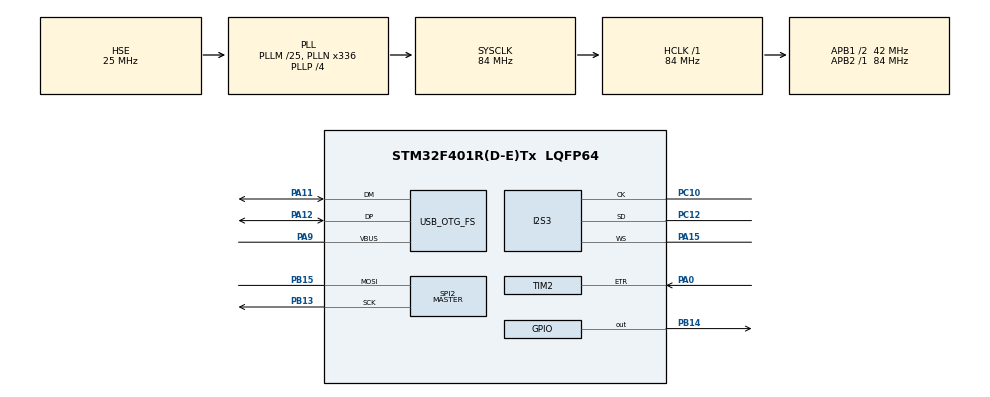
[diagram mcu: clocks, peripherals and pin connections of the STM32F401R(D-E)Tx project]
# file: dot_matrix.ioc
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Dma.Request0=SPI3_RX
Dma.SPI3_RX.0.Direction=DMA_PERIPH_TO_MEMORY
Dma.SPI3_RX.0.FIFOMode=DMA_FIFOMODE_DISABLE
Dma.SPI3_RX.0.Instance=DMA1_Stream0
Dma.SPI3_RX.0.MemDataAlignment=DMA_MDATAALIGN_HALFWORD
Dma.SPI3_RX.0.MemInc=DMA_MINC_ENABLE
Dma.SPI3_RX.0.Mode=DMA_CIRCULAR
Dma.SPI3_RX.0.PeriphDataAlignment=DMA_PDATAALIGN_HALFWORD
Dma.SPI3_RX.0.PeriphInc=DMA_PINC_DISABLE
Dma.SPI3_RX.0.Priority=DMA_PRIORITY_HIGH
I2S3.AudioFreq=I2S_AUDIOFREQ_16K
I2S3.DataFormat=I2S_DATAFORMAT_24B
I2S3.ErrorAudioFreq=-0.35 %
I2S3.FullDuplexMode=I2S_FULLDUPLEXMODE_DISABLE
I2S3.Instance=SPI$Index
I2S3.Mode=I2S_MODE_MASTER_RX
I2S3.RealAudioFreq=15.943 KHz
I2S3.VirtualMode=I2S_MODE_MASTER
Mcu.Family=STM32F4
Mcu.Name=STM32F401R(D-E)Tx
Mcu.Package=LQFP64
NVIC.DMA1_Stream0_IRQn=true\:0\:0\:false\:false\:true\:false\:true\:true
NVIC.PriorityGroup=NVIC_PRIORITYGROUP_4
NVIC.SPI3_IRQn=true\:0\:0\:false\:false\:true\:true\:true\:true
PA0-WKUP.Signal=S_TIM2_CH1_ETR
PA11.Mode=Host_Only
PA11.Signal=USB_OTG_FS_DM
PA12.Mode=Host_Only
PA12.Signal=USB_OTG_FS_DP
PA13.Mode=Serial_Wire
PA13.Signal=SYS_JTMS-SWDIO
PA14.Mode=Serial_Wire
PA14.Signal=SYS_JTCK-SWCLK
PA15.Mode=Half_Duplex_Master
PA15.Signal=I2S3_WS
PA9.Mode=Activate_VBUS
PA9.Signal=USB_OTG_FS_VBUS
PB13.Mode=Simplex_Bidirectional_Master
PB13.Signal=SPI2_SCK
PB14.Signal=GPIO_Output
PB15.Mode=Simplex_Bidirectional_Master
PB15.Signal=SPI2_MOSI
PC10.Mode=Half_Duplex_Master
PC10.Signal=I2S3_CK
PC12.Mode=Half_Duplex_Master
PC12.Signal=I2S3_SD
PH0\ -\ OSC_IN.Mode=HSE-External-Clock-Source
PH0\ -\ OSC_IN.Signal=RCC_OSC_IN
PH1\ -\ OSC_OUT.Mode=HSE-External-Clock-Source
PH1\ -\ OSC_OUT.Signal=RCC_OSC_OUT
ProjectManager.HeapSize=0x200
ProjectManager.StackSize=0x400
ProjectManager.TargetToolchain=Makefile
RCC.48MHZClocksFreq_Value=48000000
RCC.AHBFreq_Value=84000000
RCC.APB1CLKDivider=RCC_HCLK_DIV2
RCC.APB1Freq_Value=42000000
RCC.APB1TimFreq_Value=84000000
RCC.APB2Freq_Value=84000000
RCC.APB2TimFreq_Value=84000000
RCC.CortexFreq_Value=84000000
RCC.HCLKFreq_Value=84000000
RCC.HSE_VALUE=25000000
RCC.HSI_VALUE=16000000
RCC.LSE_VALUE=32768
RCC.PLLI2SN=100
RCC.PLLM=25
RCC.PLLN=336
RCC.PLLP=RCC_PLLP_DIV4
RCC.PLLQ=7
RCC.SYSCLKFreq_VALUE=84000000
RCC.SYSCLKSource=RCC_SYSCLKSOURCE_PLLCLK
RCC.VCOOutputFreq_Value=336000000
SH.S_TIM2_CH1_ETR.0=TIM2_ETR,ClockSourceETR_Mode2
SPI2.Direction=SPI_DIRECTION_1LINE
SPI2.Mode=SPI_MODE_MASTER
SPI2.VirtualType=VM_MASTER
TIM2.AutoReloadPreload=TIM_AUTORELOAD_PRELOAD_ENABLE
USB_OTG_FS.VirtualMode=Host_Only
USB_OTG_FS.phy_itface=HCD_PHY_EMBEDDED
board=custom

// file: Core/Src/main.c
/* USER CODE BEGIN Header */
/**
 ******************************************************************************
 * @file           : main.c
 * @brief          : Main program body
 ******************************************************************************
 * @attention
 *
 * Copyright (c) 2023 STMicroelectronics.
 * All rights reserved.
 *
 * This software is licensed under terms that can be found in the LICENSE file
 * in the root directory of this software component.
 * If no LICENSE file comes with this software, it is provided AS-IS.
 *
 ******************************************************************************
 */
/* USER CODE END Header */
#include "main.h"

/* USER CODE BEGIN Includes */
#include <stdbool.h>
#include <stdlib.h>
#include <string.h>
#include <arm_math.h>
#include <arduino_utils.h>
/* USER CODE END Includes */

/* USER CODE BEGIN PTD */
typedef struct
{
  int bin_low;
  int bin_high;
} LogBinMap;
/* USER CODE END PTD */

/* USER CODE BEGIN PM */
#define MATRIX_DISPLAY_UNIT1 0
#define FFT_LENGTH 64
#define BUFFER_SIZE 128 // 24bits 32 data frame
#define MATRIX_X 32
#define MATRIX_Y 8

#define SAMPLE_RATE 16000.0f
#define MIN_FREQ 2000.0f
#define MAX_FREQ 7000.0f
/* USER CODE END PM */

I2S_HandleTypeDef hi2s3;
DMA_HandleTypeDef hdma_spi3_rx;

SPI_HandleTypeDef hspi2;

TIM_HandleTypeDef htim2;

HCD_HandleTypeDef hhcd_USB_OTG_FS;

/* USER CODE BEGIN PV */
bool i2s_dma_full_flag = false;
bool i2s_dma_half_flag = false;

arm_status status_fft;
arm_fir_instance_f32 fir;
arm_rfft_fast_instance_f32 fft_instance;

float32_t input_fft[FFT_LENGTH];
float32_t output_fft[FFT_LENGTH];
float32_t output_fft_mag[FFT_LENGTH / 2];
float32_t output_bins[MATRIX_X];
uint16_t i2s_buffer[BUFFER_SIZE * 2];

LogBinMap lut[MATRIX_X];

float32_t window_coff[FFT_LENGTH];

float32_t data_avgs[MATRIX_X];

int yvalue;
int peaks[MATRIX_X] = {0};
int displaycolumn, displayvalue;

int MY_ARRAY[] = {0, 128, 192, 224, 240, 248, 252, 254, 255};

void build_log_bin_lut(LogBinMap *lut, int NUM_BINS)
{
  int fft_bins = FFT_LENGTH / 2;
  float32_t freq_resolution = SAMPLE_RATE / (float32_t)FFT_LENGTH;

  float32_t log_min = log2f(MIN_FREQ);
  float32_t log_max = log2f(MAX_FREQ);
  float32_t log_range = log_max - log_min;

  for (int i = 0; i < NUM_BINS; i++)
  {
    float32_t freq_low = powf(2.0f, log_min + (float32_t)i / NUM_BINS * log_range);
    float32_t freq_high = powf(2.0f, log_min + (float32_t)(i + 1) / NUM_BINS * log_range);

    int bin_low = (int)floorf(freq_low / freq_resolution);
    int bin_high = (int)ceilf(freq_high / freq_resolution);

    bin_low = bin_low < 0 ? 0 : bin_low;
    bin_high = bin_high >= fft_bins ? fft_bins - 1 : bin_high;

    if (bin_low > bin_high)
      bin_high = bin_low;

    lut[i].bin_low = bin_low;
    lut[i].bin_high = bin_high;
  }
}

void rebin_log_audio(float *fft_mag, float *rebin, const LogBinMap *lut, int NUM_BINS)
{
  for (int i = 0; i < NUM_BINS; i++)
  {
    int bin_low = lut[i].bin_low;
    int bin_high = lut[i].bin_high;

    float32_t sum = 0.0f;
    int count = bin_high - bin_low + 1;

    for (int j = bin_low; j <= bin_high; j++)
      sum += fft_mag[j];

    rebin[i] = sum / (float32_t)count;
  }
}
/*

FIR filter designed with
http://t-filter.appspot.com

sampling frequency: 16000 Hz

* 0 Hz - 3000 Hz
  gain = 0
  desired attenuation = -40 dB
  actual attenuation = -41.44566068037808 dB

* 4000 Hz - 8000 Hz
  gain = 1
  desired ripple = 5 dB
  actual ripple = 3.5163656958569183 dB

*/

#define FILTER_TAP_NUM 19

static float32_t filter_taps[FILTER_TAP_NUM] = {
    -0.01286737409931033,
    -0.011582917042481518,
    0.0709435597229363,
    -0.05850997474212666,
    -0.040910558942368495,
    0.03894710089289564,
    0.0947634922313574,
    -0.04258608472470373,
    -0.31412123784627477,
    0.543381234624982,
    -0.31412123784627477,
    -0.04258608472470373,
    0.0947634922313574,
    0.03894710089289564,
    -0.040910558942368495,
    -0.05850997474212666,
    0.0709435597229363,
    -0.011582917042481518,
    -0.01286737409931033};

float32_t firState[FILTER_TAP_NUM + FFT_LENGTH - 1];

/* USER CODE END PV */

void SystemClock_Config(void);
static void MX_GPIO_Init(void);
static void MX_DMA_Init(void);
static void MX_I2S3_Init(void);
static void MX_SPI2_Init(void);
static void MX_USB_OTG_FS_HCD_Init(void);
static void MX_TIM2_Init(void);
/* USER CODE BEGIN PFP */
void audio_visualizer_update(float32_t *fft_magnitudes);
void process_audio_data(float32_t *output_fft_mag);
void test_visualizer_sine(void);
/* USER CODE END PFP */

/* USER CODE BEGIN 0 */
void test_visualizer_sine(void)
{
  static float32_t sweep_freq = 200.0f;
  static float32_t sweep_dir = 1.0f;

  float32_t phase_inc = 2.0f * M_PI * sweep_freq / 16000.0f; // 16kHz here
  float32_t ph = 0.0f;

  for (int i = 0; i < FFT_LENGTH; i++)
  {
    input_fft[i] = 500000.0f * sinf(ph);
    ph += phase_inc;
    if (ph >= 2.0f * M_PI)
      ph -= 2.0f * M_PI;
  }

  float32_t mean = 0.0f;
  for (int i = 0; i < FFT_LENGTH; i++)
    mean += input_fft[i];
  mean /= FFT_LENGTH;
  for (int i = 0; i < FFT_LENGTH; i++)
    input_fft[i] -= mean;
  for (int i = 0; i < FFT_LENGTH; i++)
    input_fft[i] *= window_coff[i];

  arm_rfft_fast_f32(&fft_instance, input_fft, output_fft, 0);
  arm_cmplx_mag_f32(output_fft, output_fft_mag, FFT_LENGTH / 2);
  audio_visualizer_update(output_fft_mag);

  // Sweep 200Hz → 7500Hz (stay safely below 8000Hz Nyquist limit)
  sweep_freq += sweep_dir * 200.0f;
  if (sweep_freq >= 7500.0f)
    sweep_dir = -1.0f;
  if (sweep_freq <= 200.0f)
    sweep_dir = 1.0f;

  // HAL_Delay(80);
}

/**
 * @brief input i2s buffer, reconstuct and return magnitude, implemented for inmp411
 * @return float32_t
 */
void process_audio_data(float32_t *output_fft_mag)
{
  for (int i = 0; i < FFT_LENGTH; i++)
  {
    int index = i * 4;

    // Reconstruct left and right 24-bit samples.
    uint32_t left_raw =
        ((uint32_t)i2s_buffer[index] << 16) |
        (uint32_t)i2s_buffer[index + 1];

    uint32_t right_raw =
        ((uint32_t)i2s_buffer[index + 2] << 16) |
        (uint32_t)i2s_buffer[index + 3];

    // Convert left-aligned 24-bit samples to signed values.
    int32_t left = (int32_t)left_raw >> 8;
    int32_t right = (int32_t)right_raw >> 8;

    // Average the original waveforms.
    input_fft[i] =
        ((float32_t)left + (float32_t)right) * 0.5f;
  }

  // Applying High-pass filter
  // arm_fir_f32(&fir, input_fft, input_fft, FFT_LENGTH);

  float mean = 0;
  for (int i = 0; i < FFT_LENGTH; i++)
  {
    mean += input_fft[i]; // Calculate mean for DC offset removal
  }
  mean /= FFT_LENGTH;

  for (int i = 0; i < FFT_LENGTH; i++)
  {
    input_fft[i] -= mean; // DC offset removal
  }

  for (int i = 0; i < FFT_LENGTH; i++)
  {
    input_fft[i] *= window_coff[i]; // Apply Window
  }

  arm_rfft_fast_f32(&fft_instance, input_fft, output_fft, 0); // Fast FFT
  // arm_fir_f32(&fir, output_fft, output_fft, FFT_LENGTH);         // apply filter
  arm_cmplx_mag_f32(output_fft, output_fft_mag, FFT_LENGTH / 2); // Get mag values
}

// TODO: Optimize this, it's hard to read.
void audio_visualizer_update(float32_t *output_fft_mag)
{
  // Find max magnitude this frame for self-normalization
  float32_t max_mag = 0.0f;
  arm_max_f32(output_fft_mag, FFT_LENGTH / 2, &max_mag, NULL);

  // Noise floor gate — skip update if signal is too quiet
  if (max_mag < 5000.0f)
  {
    for (int i = 0; i < MATRIX_X; i++)
    {
      peaks[i] -= 1;
      if (peaks[i] < 0)
        peaks[i] = 0;
      SET_COLUMN(MATRIX_DISPLAY_UNIT1, 31 - i, reverse_bits(MY_ARRAY[peaks[i]]));
    }
    return;
  }

  for (int i = 0; i < MATRIX_X; i++)
  {
    // Normalize 0.0–1.0 then scale to MATRIX_Y
    float32_t normalized = output_fft_mag[i] / max_mag;
    int yvalue = (int)(normalized * MATRIX_Y);
    if (yvalue > MATRIX_Y)
      yvalue = MATRIX_Y; // clamp

    // Peak decay — clamped to 0
    peaks[i] -= 1;
    if (peaks[i] < 0)
      peaks[i] = 0;
    if (yvalue > peaks[i])
      peaks[i] = yvalue;

    displayvalue = MY_ARRAY[peaks[i]];
    displaycolumn = 31 - i;
    SET_COLUMN(MATRIX_DISPLAY_UNIT1, displaycolumn, reverse_bits(displayvalue));
  }
}
/* USER CODE END 0 */

int main(void)
{

  /* MCU Configuration--------------------------------------------------------*/

  /* Reset of all peripherals, Initializes the Flash interface and the Systick. */
  HAL_Init();

  /* Configure the system clock */
  SystemClock_Config();

  /* Initialize all configured peripherals */
  MX_GPIO_Init();
  MX_DMA_Init();
  MX_I2S3_Init();
  MX_SPI2_Init();
  MX_USB_OTG_FS_HCD_Init();
  MX_TIM2_Init();
  /* USER CODE BEGIN 2 */
  DOT_MATRIX_Init_TMR(&hspi2, &htim2);
  MATRIX_CLEAR(MATRIX_DISPLAY_UNIT1);

  // Create fast fft instance
  status_fft = arm_rfft_fast_init_f32(&fft_instance, FFT_LENGTH);

  arm_fir_init_f32(&fir, FILTER_TAP_NUM, filter_taps, firState, FFT_LENGTH);

  arm_hamming_f32(window_coff, FFT_LENGTH); // Generate Window coefficients

  // build lut for log rebinning
  build_log_bin_lut(lut, MATRIX_X);

  HAL_StatusTypeDef result;

  result = HAL_I2S_Receive_DMA(
      &hi2s3,
      i2s_buffer,
      BUFFER_SIZE);

  if (hi2s3.hdmarx == NULL)
  {
    Error_Handler();
  }

  if (result != HAL_OK)
  {
    volatile uint32_t dma_error = 0;
    volatile uint32_t i2s_error = 0;

    if (hi2s3.hdmarx != NULL)
    {
      dma_error = hi2s3.hdmarx->ErrorCode;
    }

    i2s_error = HAL_I2S_GetError(&hi2s3);

    Error_Handler();
  }

  /* USER CODE END 2 */

  /* Infinite loop */
  while (1)
  {

    /* USER CODE BEGIN 3 */
    // Sampling at
    // if (i2s_dma_half_flag)
    // {
    //   float32_t out_mag[FFT_LENGTH / 2];
    //   float32_t output_bins[FFT_LENGTH / 2];

    //   process_audio_data(&i2s_buffer[0], &out_mag[0]); // Process second half of the buffer
    //   rebin_log_audio(out_mag, output_bins, lut, MATRIX_X); // Optional: re-bin FFT magnitudes into logarithmic frequency bins matching the display columns
    //   audio_visualizer_update(output_bins);
    //   i2s_dma_half_flag = false;
    //   // Sample microphone input
    // }

    if (i2s_dma_full_flag)
    {
      float32_t out_mag[FFT_LENGTH / 2];
      // float32_t output_bins[FFT_LENGTH / 2];

      process_audio_data(out_mag); // Process second half of the buffer
      rebin_log_audio(out_mag, out_mag, lut, MATRIX_X); // Optional: re-bin FFT magnitudes into logarithmic frequency bins matching the display columns
      audio_visualizer_update(out_mag); // Update display based on FFT results
      i2s_dma_full_flag = false;
      // Sample microphone input
    }
    // test_visualizer_sine(); // Call this instead of process_audio_data() to test with a synthetic sine wave signal. Comment out the above if blocks when using this.
  }
  /* USER CODE END 3 */
}

void SystemClock_Config(void)
{
  RCC_OscInitTypeDef RCC_OscInitStruct = {0};
  RCC_ClkInitTypeDef RCC_ClkInitStruct = {0};

  /** Configure the main internal regulator output voltage
   */
  __HAL_RCC_PWR_CLK_ENABLE();
  __HAL_PWR_VOLTAGESCALING_CONFIG(PWR_REGULATOR_VOLTAGE_SCALE2);

  /** Initializes the RCC Oscillators according to the specified parameters
   * in the RCC_OscInitTypeDef structure.
   */
  RCC_OscInitStruct.OscillatorType = RCC_OSCILLATORTYPE_HSE;
  RCC_OscInitStruct.HSEState = RCC_HSE_BYPASS;
  RCC_OscInitStruct.PLL.PLLState = RCC_PLL_ON;
  RCC_OscInitStruct.PLL.PLLSource = RCC_PLLSOURCE_HSE;
  RCC_OscInitStruct.PLL.PLLM = 25;
  RCC_OscInitStruct.PLL.PLLN = 336;
  RCC_OscInitStruct.PLL.PLLP = RCC_PLLP_DIV4;
  RCC_OscInitStruct.PLL.PLLQ = 7;
  if (HAL_RCC_OscConfig(&RCC_OscInitStruct) != HAL_OK)
  {
    Error_Handler();
  }

  /** Initializes the CPU, AHB and APB buses clocks
   */
  RCC_ClkInitStruct.ClockType = RCC_CLOCKTYPE_HCLK | RCC_CLOCKTYPE_SYSCLK | RCC_CLOCKTYPE_PCLK1 | RCC_CLOCKTYPE_PCLK2;
  RCC_ClkInitStruct.SYSCLKSource = RCC_SYSCLKSOURCE_PLLCLK;
  RCC_ClkInitStruct.AHBCLKDivider = RCC_SYSCLK_DIV1;
  RCC_ClkInitStruct.APB1CLKDivider = RCC_HCLK_DIV2;
  RCC_ClkInitStruct.APB2CLKDivider = RCC_HCLK_DIV1;

  if (HAL_RCC_ClockConfig(&RCC_ClkInitStruct, FLASH_LATENCY_2) != HAL_OK)
  {
    Error_Handler();
  }
}

static void MX_I2S3_Init(void)
{

  hi2s3.Instance = SPI3;
  hi2s3.Init.Mode = I2S_MODE_MASTER_RX;
  hi2s3.Init.Standard = I2S_STANDARD_PHILIPS;
  hi2s3.Init.DataFormat = I2S_DATAFORMAT_24B;
  hi2s3.Init.MCLKOutput = I2S_MCLKOUTPUT_DISABLE;
  hi2s3.Init.AudioFreq = I2S_AUDIOFREQ_16K;
  hi2s3.Init.CPOL = I2S_CPOL_LOW;
  hi2s3.Init.ClockSource = I2S_CLOCK_PLL;
  hi2s3.Init.FullDuplexMode = I2S_FULLDUPLEXMODE_DISABLE;
  if (HAL_I2S_Init(&hi2s3) != HAL_OK)
  {
    Error_Handler();
  }
}

static void MX_SPI2_Init(void)
{

  /* SPI2 parameter configuration*/
  hspi2.Instance = SPI2;
  hspi2.Init.Mode = SPI_MODE_MASTER;
  hspi2.Init.Direction = SPI_DIRECTION_1LINE;
  hspi2.Init.DataSize = SPI_DATASIZE_8BIT;
  hspi2.Init.CLKPolarity = SPI_POLARITY_LOW;
  hspi2.Init.CLKPhase = SPI_PHASE_1EDGE;
  hspi2.Init.NSS = SPI_NSS_SOFT;
  hspi2.Init.BaudRatePrescaler = SPI_BAUDRATEPRESCALER_2;
  hspi2.Init.FirstBit = SPI_FIRSTBIT_MSB;
  hspi2.Init.TIMode = SPI_TIMODE_DISABLE;
  hspi2.Init.CRCCalculation = SPI_CRCCALCULATION_DISABLE;
  hspi2.Init.CRCPolynomial = 10;
  if (HAL_SPI_Init(&hspi2) != HAL_OK)
  {
    Error_Handler();
  }
}

static void MX_TIM2_Init(void)
{

  TIM_ClockConfigTypeDef sClockSourceConfig = {0};
  TIM_MasterConfigTypeDef sMasterConfig = {0};

  htim2.Instance = TIM2;
  htim2.Init.Prescaler = 0;
  htim2.Init.CounterMode = TIM_COUNTERMODE_UP;
  htim2.Init.Period = 4294967295;
  htim2.Init.ClockDivision = TIM_CLOCKDIVISION_DIV1;
  htim2.Init.AutoReloadPreload = TIM_AUTORELOAD_PRELOAD_ENABLE;
  if (HAL_TIM_Base_Init(&htim2) != HAL_OK)
  {
    Error_Handler();
  }
  sClockSourceConfig.ClockSource = TIM_CLOCKSOURCE_ETRMODE2;
  sClockSourceConfig.ClockPolarity = TIM_CLOCKPOLARITY_NONINVERTED;
  sClockSourceConfig.ClockPrescaler = TIM_CLOCKPRESCALER_DIV1;
  sClockSourceConfig.ClockFilter = 0;
  if (HAL_TIM_ConfigClockSource(&htim2, &sClockSourceConfig) != HAL_OK)
  {
    Error_Handler();
  }
  sMasterConfig.MasterOutputTrigger = TIM_TRGO_RESET;
  sMasterConfig.MasterSlaveMode = TIM_MASTERSLAVEMODE_DISABLE;
  if (HAL_TIMEx_MasterConfigSynchronization(&htim2, &sMasterConfig) != HAL_OK)
  {
    Error_Handler();
  }
}

static void MX_USB_OTG_FS_HCD_Init(void)
{

  hhcd_USB_OTG_FS.Instance = USB_OTG_FS;
  hhcd_USB_OTG_FS.Init.Host_channels = 8;
  hhcd_USB_OTG_FS.Init.speed = HCD_SPEED_FULL;
  hhcd_USB_OTG_FS.Init.dma_enable = DISABLE;
  hhcd_USB_OTG_FS.Init.phy_itface = HCD_PHY_EMBEDDED;
  hhcd_USB_OTG_FS.Init.Sof_enable = DISABLE;
  if (HAL_HCD_Init(&hhcd_USB_OTG_FS) != HAL_OK)
  {
    Error_Handler();
  }
}

static void MX_DMA_Init(void)
{

  /* DMA controller clock enable */
  __HAL_RCC_DMA1_CLK_ENABLE();

  /* DMA interrupt init */
  /* DMA1_Stream0_IRQn interrupt configuration */
  HAL_NVIC_SetPriority(DMA1_Stream0_IRQn, 0, 0);
  HAL_NVIC_EnableIRQ(DMA1_Stream0_IRQn);
}

static void MX_GPIO_Init(void)
{
  GPIO_InitTypeDef GPIO_InitStruct = {0};

  /* GPIO Ports Clock Enable */
  __HAL_RCC_GPIOH_CLK_ENABLE();
  __HAL_RCC_GPIOA_CLK_ENABLE();
  __HAL_RCC_GPIOB_CLK_ENABLE();
  __HAL_RCC_GPIOC_CLK_ENABLE();

  /*Configure GPIO pin Output Level */
  HAL_GPIO_WritePin(GPIOB, GPIO_PIN_14, GPIO_PIN_RESET);

  /*Configure GPIO pin : PB14 */
  GPIO_InitStruct.Pin = GPIO_PIN_14;
  GPIO_InitStruct.Mode = GPIO_MODE_OUTPUT_PP;
  GPIO_InitStruct.Pull = GPIO_NOPULL;
  GPIO_InitStruct.Speed = GPIO_SPEED_FREQ_LOW;
  HAL_GPIO_Init(GPIOB, &GPIO_InitStruct);

}

/* USER CODE BEGIN 4 */
// Half buffer ready (0..63)
void HAL_I2S_RxHalfCpltCallback(I2S_HandleTypeDef *hi2s)
{
  i2s_dma_half_flag = true;
}

// Full buffer ready (64..127)
void HAL_I2S_RxCpltCallback(I2S_HandleTypeDef *hi2s)
{
  i2s_dma_full_flag = true;
}
void HAL_TIM_PeriodElapsedCallback(TIM_HandleTypeDef *htim)
{
  MATRIX_TMR_OVF_ISR(htim);
}
/* USER CODE END 4 */

void Error_Handler(void)
{
  __disable_irq();
  while (1)
  {
  }
}
